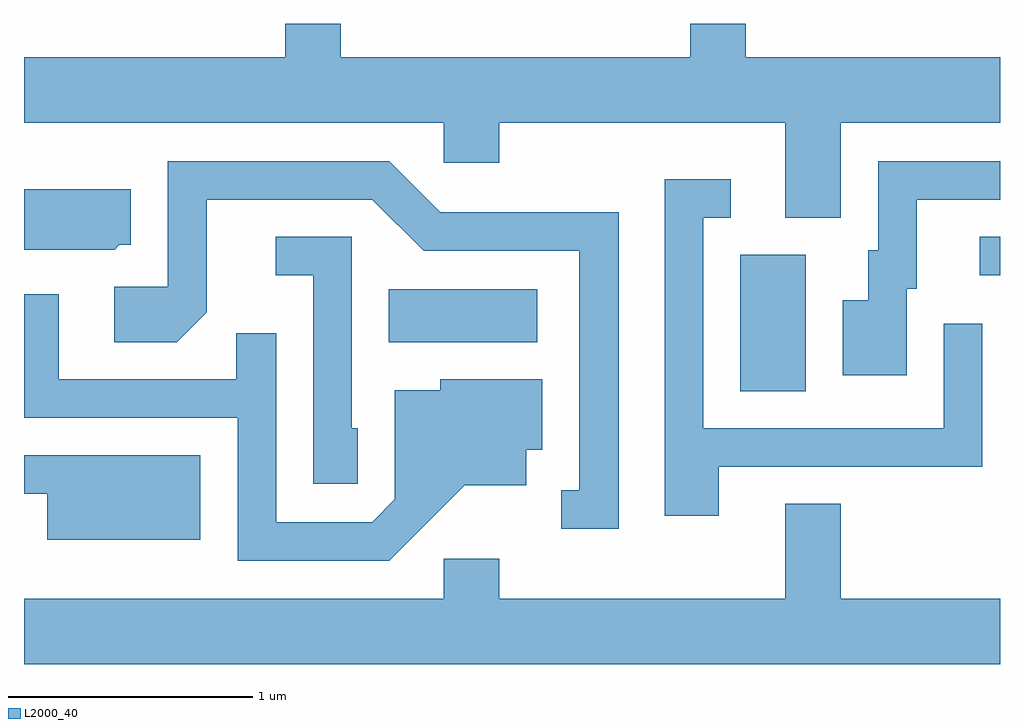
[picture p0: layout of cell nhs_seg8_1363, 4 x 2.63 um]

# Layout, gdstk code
import gdstk
lib = gdstk.Library(unit=1e-6, precision=1e-09)
def R(c, l, rs):  # rectangles x0, y0, x1, y1
    for r in rs: c.add(gdstk.rectangle(r[:2], r[2:], *l))
def P(c, l, *ps):  # polygons
    for p in ps: c.add(gdstk.Polygon(p, *l))
L2000_40 = (2000, 40)

nhs_seg8_1363 = lib.new_cell('nhs_seg8_1363')
R(nhs_seg8_1363, L2000_40, [(228.546,1870.836,228.814,1871.394), (227.106,1871.036,227.714,1871.254), (229.528,1871.311,229.611,1871.469)])
P(nhs_seg8_1363, L2000_40, [(228.959,1871.936),(229.611,1871.936),(229.611,1872.204),(228.569,1872.204),(228.569,1872.342),(228.341,1872.342),(228.341,1872.204),(226.909,1872.204),(226.909,1872.342),(226.681,1872.342),(226.681,1872.204),(225.611,1872.204),(225.611,1871.936),(227.331,1871.936),(227.331,1871.771),(227.559,1871.771),(227.559,1871.936),(228.731,1871.936),(228.731,1871.546),(228.959,1871.546)],
  [(228.049,1871.569),(227.317,1871.569),(227.107,1871.779),(226.201,1871.779),(226.201,1871.264),(225.981,1871.264),(225.981,1871.036),(226.237,1871.036),(226.359,1871.159),(226.359,1871.621),(227.039,1871.621),(227.249,1871.411),(227.886,1871.411),(227.886,1870.429),(227.813,1870.429),(227.813,1870.271),(228.049,1870.271)],
  [(229.229,1871.256),(229.269,1871.256),(229.269,1871.621),(229.611,1871.621),(229.611,1871.779),(229.111,1871.779),(229.111,1871.414),(229.071,1871.414),(229.071,1871.209),(228.966,1871.209),(228.966,1870.901),(229.229,1870.901)],
  [(228.459,1870.526),(229.539,1870.526),(229.539,1871.113),(229.381,1871.113),(229.381,1870.684),(228.394,1870.684),(228.394,1871.546),(228.508,1871.546),(228.508,1871.704),(228.236,1871.704),(228.236,1870.326),(228.459,1870.326)],
  [(226.002,1871.436),(226.049,1871.436),(226.049,1871.664),(225.611,1871.664),(225.611,1871.416),(225.982,1871.416)],
  [(226.979,1870.684),(226.954,1870.684),(226.954,1871.469),(226.643,1871.469),(226.643,1871.311),(226.796,1871.311),(226.796,1870.456),(226.979,1870.456)],
  [(227.417,1870.451),(227.669,1870.451),(227.669,1870.596),(227.734,1870.596),(227.734,1870.884),(227.316,1870.884),(227.316,1870.839),(227.131,1870.839),(227.131,1870.392),(227.039,1870.299),(226.644,1870.299),(226.644,1871.073),(226.481,1871.073),(226.481,1870.884),(225.754,1870.884),(225.754,1871.233),(225.611,1871.233),(225.611,1870.726),(226.486,1870.726),(226.486,1870.141),(227.107,1870.141)],
  [(226.334,1870.574),(225.611,1870.574),(225.611,1870.416),(225.706,1870.416),(225.706,1870.226),(226.334,1870.226)],
  [(229.611,1869.984),(228.959,1869.984),(228.959,1870.374),(228.731,1870.374),(228.731,1869.984),(227.559,1869.984),(227.559,1870.149),(227.331,1870.149),(227.331,1869.984),(225.611,1869.984),(225.611,1869.716),(229.611,1869.716)])

lib.write_gds('nhs_seg8_1363.gds')
